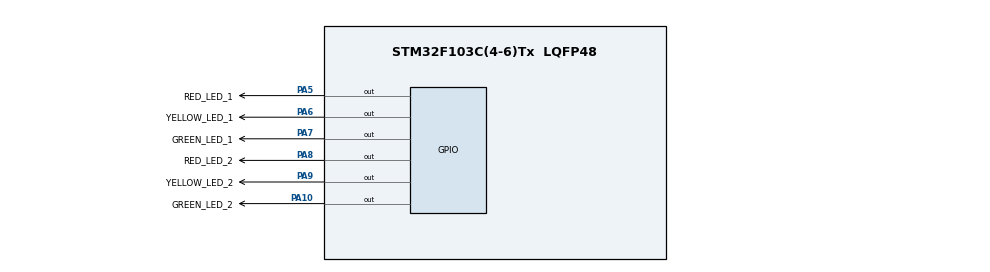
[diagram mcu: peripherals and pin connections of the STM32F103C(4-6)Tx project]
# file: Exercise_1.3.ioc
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Mcu.Family=STM32F1
Mcu.Name=STM32F103C(4-6)Tx
Mcu.Package=LQFP48
NVIC.PriorityGroup=NVIC_PRIORITYGROUP_4
PA10.GPIO_Label=GREEN_LED_2
PA10.Signal=GPIO_Output
PA5.GPIO_Label=RED_LED_1
PA5.Signal=GPIO_Output
PA6.GPIO_Label=YELLOW_LED_1
PA6.Signal=GPIO_Output
PA7.GPIO_Label=GREEN_LED_1
PA7.Signal=GPIO_Output
PA8.GPIO_Label=RED_LED_2
PA8.Signal=GPIO_Output
PA9.GPIO_Label=YELLOW_LED_2
PA9.Signal=GPIO_Output
ProjectManager.HeapSize=0x200
ProjectManager.StackSize=0x400
ProjectManager.TargetToolchain=STM32CubeIDE
RCC.APB1Freq_Value=8000000
RCC.APB2Freq_Value=8000000
board=custom

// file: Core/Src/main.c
/* USER CODE BEGIN Header */
/**
  ******************************************************************************
  * @file           : main.c
  * @brief          : Main program body
  ******************************************************************************
  * @attention
  *
  * Copyright (c) 2025 STMicroelectronics.
  * All rights reserved.
  *
  * This software is licensed under terms that can be found in the LICENSE file
  * in the root directory of this software component.
  * If no LICENSE file comes with this software, it is provided AS-IS.
  *
  ******************************************************************************
  */
/* USER CODE END Header */
#include "main.h"

void SystemClock_Config(void);
static void MX_GPIO_Init(void);
/* USER CODE BEGIN PFP */
void led_1(int *flag_1, int *t1);
void led_2(int *flag_2, int *t2);
/* USER CODE END PFP */

/* USER CODE BEGIN 0 */
void led_1(int *flag_1, int *t1){
	if((*flag_1 == 1) && (*t1 == 0)){
		HAL_GPIO_WritePin(GPIOA, RED_LED_1_Pin, RESET);
		HAL_GPIO_WritePin(GPIOA, GREEN_LED_1_Pin, SET);
		*flag_1 = 2;
		*t1 = 3;
	}
	else if((*flag_1 == 2) && (*t1 == 0)){
		HAL_GPIO_WritePin(GPIOA, GREEN_LED_1_Pin, RESET);
		HAL_GPIO_WritePin(GPIOA, YELLOW_LED_1_Pin, SET);
		*flag_1 = 3;
		*t1 = 2;
	}
	else if((*flag_1 == 3) && (*t1 == 0)){
		HAL_GPIO_WritePin(GPIOA, YELLOW_LED_1_Pin, RESET);
		HAL_GPIO_WritePin(GPIOA, RED_LED_1_Pin, SET);
		*flag_1 = 1;
		*t1 = 5;
	}
	(*t1)--;
}

void led_2(int *flag_2, int *t2){
	if((*flag_2 == 1) && (*t2 == 0)){
		HAL_GPIO_WritePin(GPIOA, RED_LED_2_Pin, RESET);
		HAL_GPIO_WritePin(GPIOA, GREEN_LED_2_Pin, SET);
		*flag_2 = 2;
		*t2 = 3;
	}
	else if((*flag_2 == 2) && (*t2 == 0)){
		HAL_GPIO_WritePin(GPIOA, GREEN_LED_2_Pin, RESET);
		HAL_GPIO_WritePin(GPIOA, YELLOW_LED_2_Pin, SET);
		*flag_2 = 3;
		*t2 = 2;
	}
	else if((*flag_2 == 3) && (*t2 == 0)){
		HAL_GPIO_WritePin(GPIOA, YELLOW_LED_2_Pin, RESET);
		HAL_GPIO_WritePin(GPIOA, RED_LED_2_Pin, SET);
		*flag_2 = 1;
		*t2 = 5;
	}
	(*t2)--;
}
/* USER CODE END 0 */

int main(void)
{

  /* MCU Configuration--------------------------------------------------------*/

  /* Reset of all peripherals, Initializes the Flash interface and the Systick. */
  HAL_Init();

  /* Configure the system clock */
  SystemClock_Config();

  /* Initialize all configured peripherals */
  MX_GPIO_Init();
  /* USER CODE BEGIN 2 */
  int flag_1 = 3;
  int flag_2 = 1;
  int time_1 = 0;
  int time_2 = 0;
  /* USER CODE END 2 */

  /* Infinite loop */
  /* USER CODE BEGIN WHILE */
  while (1)
  {
	  led_1(&flag_1, &time_1);
	  led_2(&flag_2, &time_2);
	  HAL_Delay(1000);
    /* USER CODE END WHILE */

  }
}

void SystemClock_Config(void)
{
  RCC_OscInitTypeDef RCC_OscInitStruct = {0};
  RCC_ClkInitTypeDef RCC_ClkInitStruct = {0};

  /** Initializes the RCC Oscillators according to the specified parameters
  * in the RCC_OscInitTypeDef structure.
  */
  RCC_OscInitStruct.OscillatorType = RCC_OSCILLATORTYPE_HSI;
  RCC_OscInitStruct.HSIState = RCC_HSI_ON;
  RCC_OscInitStruct.HSICalibrationValue = RCC_HSICALIBRATION_DEFAULT;
  RCC_OscInitStruct.PLL.PLLState = RCC_PLL_NONE;
  if (HAL_RCC_OscConfig(&RCC_OscInitStruct) != HAL_OK)
  {
    Error_Handler();
  }

  /** Initializes the CPU, AHB and APB buses clocks
  */
  RCC_ClkInitStruct.ClockType = RCC_CLOCKTYPE_HCLK|RCC_CLOCKTYPE_SYSCLK
                              |RCC_CLOCKTYPE_PCLK1|RCC_CLOCKTYPE_PCLK2;
  RCC_ClkInitStruct.SYSCLKSource = RCC_SYSCLKSOURCE_HSI;
  RCC_ClkInitStruct.AHBCLKDivider = RCC_SYSCLK_DIV1;
  RCC_ClkInitStruct.APB1CLKDivider = RCC_HCLK_DIV1;
  RCC_ClkInitStruct.APB2CLKDivider = RCC_HCLK_DIV1;

  if (HAL_RCC_ClockConfig(&RCC_ClkInitStruct, FLASH_LATENCY_0) != HAL_OK)
  {
    Error_Handler();
  }
}

static void MX_GPIO_Init(void)
{
  GPIO_InitTypeDef GPIO_InitStruct = {0};

  /* GPIO Ports Clock Enable */
  __HAL_RCC_GPIOA_CLK_ENABLE();

  /*Configure GPIO pin Output Level */
  HAL_GPIO_WritePin(GPIOA, RED_LED_1_Pin|YELLOW_LED_1_Pin|GREEN_LED_1_Pin|RED_LED_2_Pin
                          |YELLOW_LED_2_Pin|GREEN_LED_2_Pin, GPIO_PIN_RESET);

  /*Configure GPIO pins : RED_LED_1_Pin YELLOW_LED_1_Pin GREEN_LED_1_Pin RED_LED_2_Pin
                           YELLOW_LED_2_Pin GREEN_LED_2_Pin */
  GPIO_InitStruct.Pin = RED_LED_1_Pin|YELLOW_LED_1_Pin|GREEN_LED_1_Pin|RED_LED_2_Pin
                          |YELLOW_LED_2_Pin|GREEN_LED_2_Pin;
  GPIO_InitStruct.Mode = GPIO_MODE_OUTPUT_PP;
  GPIO_InitStruct.Pull = GPIO_NOPULL;
  GPIO_InitStruct.Speed = GPIO_SPEED_FREQ_LOW;
  HAL_GPIO_Init(GPIOA, &GPIO_InitStruct);

}

void Error_Handler(void)
{
  __disable_irq();
  while (1)
  {
  }
}
